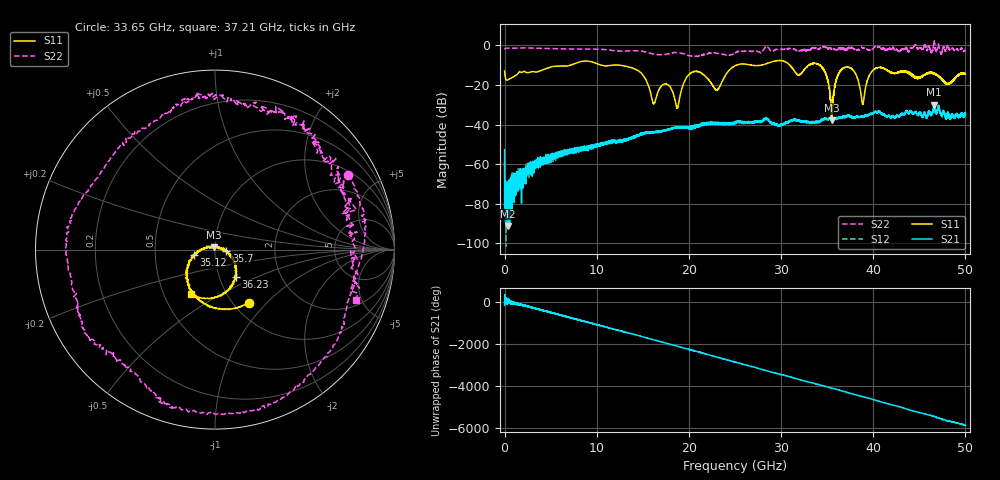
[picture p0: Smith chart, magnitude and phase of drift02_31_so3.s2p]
!Created with skrf (http://scikit-rf.org).
# Hz S RI R 50.0
!freq ReS11 ImS11 ReS21 ImS21 ReS12 ImS12 ReS22 ImS22
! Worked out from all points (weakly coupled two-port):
!   10001 points, 300 kHz to 50 GHz, reference 50 ohm
!   highest |S21| = -30.05 dB at 46.58 GHz (marker M1); lowest = -91.2 dB at 375.3 MHz (marker M2)
!   lowest |S11| = -37.8 dB at 35.49 GHz (marker M3), VSWR 1.03, Z = 49.6 + j1.21 ohm
!   |S11| at or under -10 dB: start of sweep to 7.178 GHz; 12.33 GHz to 25.17 GHz (12.84 GHz wide, 68.5 % of centre); 34.2 GHz to end of sweep (the widest 3 of 15)
!   |S22| runs from -5.7 to 2.4 dB; largest |S21 - S12| = 0.0034
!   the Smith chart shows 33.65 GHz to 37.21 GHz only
!   S11 on the Smith chart (normalised r, x): 33.65 GHz: 1.18, -0.79; 35.12 GHz: 0.79, -0.05; 35.7 GHz: 1.14, -0.02; 36.23 GHz: 1.20, -0.37; 37.21 GHz: 0.68, -0.37
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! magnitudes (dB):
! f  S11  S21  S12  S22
! 300 kHz  -13.0  -52.8  -58.9  -2.1
! 375.3 MHz  -17.4  -91.2  -71.4  -1.4
! 8.335 GHz  -8.2  -53.1  -52.1  -1.9
! 14.03 GHz  -11.7  -46.4  -46.1  -2.8
! 16.14 GHz  -29.3  -43.7  -44.0  -4.5
! 16.67 GHz  -23.3  -43.6  -43.5  -4.7
! 18.74 GHz  -31.7  -41.6  -41.5  -3.7
! 20.24 GHz  -13.9  -40.7  -41.4  -5.5
! 23.03 GHz  -22.7  -39.0  -39.3  -4.1
! 25 GHz  -10.4  -38.7  -39.4  -3.9
! 33.34 GHz  -9.3  -38.6  -39.0  -1.6
! 33.65 GHz  -9.1  -38.9  -38.7  -1.4
! 35.12 GHz  -18.2  -37.1  -37.2  -1.8
! 35.49 GHz  -37.8  -37.1  -36.8  -1.7
! 35.7 GHz  -23.8  -36.7  -36.6  -1.7
! 36.23 GHz  -14.4  -36.7  -36.7  -1.9
! 37.21 GHz  -11.0  -35.3  -35.5  -1.6
! 38.86 GHz  -29.9  -36.1  -35.8  -1.4
! 39.94 GHz  -12.8  -34.4  -34.6  -2.0
! 41.67 GHz  -13.1  -35.5  -35.8  -1.8
! 46.58 GHz  -14.3  -30.1  -30.6  1.3
! 50 GHz  -14.5  -34.4  -34.1  -2.8
